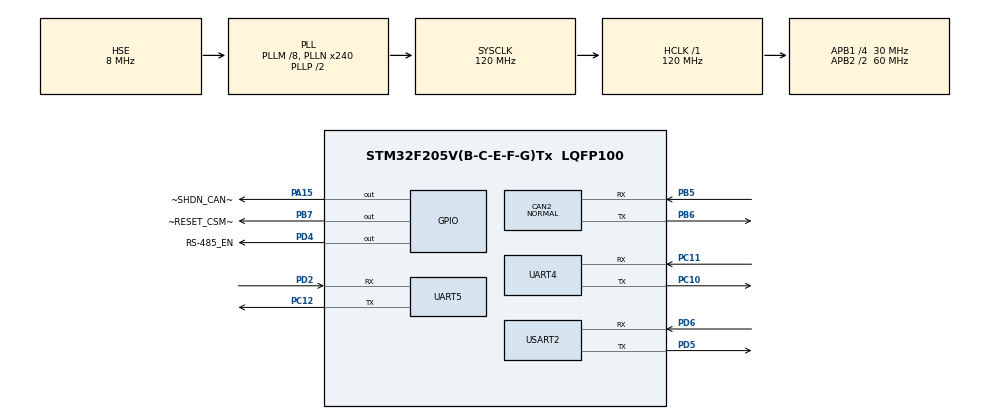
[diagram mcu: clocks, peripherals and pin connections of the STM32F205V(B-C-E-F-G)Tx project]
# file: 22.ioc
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CAN2.BS1=CAN_BS1_8TQ
CAN2.BS2=CAN_BS2_6TQ
CAN2.CalculateTimeBit=8000
CAN2.CalculateTimeQuantum=533.3333333333334
CAN2.Mode=CAN_MODE_NORMAL
CAN2.NART=ENABLE
Mcu.Family=STM32F2
Mcu.Name=STM32F205V(B-C-E-F-G)Tx
Mcu.Package=LQFP100
NVIC.CAN2_RX0_IRQn=true\:0\:4\:false
NVIC.CAN2_SCE_IRQn=true\:0\:3\:false
NVIC.CAN2_TX_IRQn=true\:0\:5\:false
NVIC.PriorityGroup=NVIC_PRIORITYGROUP_1
NVIC.UART4_IRQn=true\:0\:1\:true
PA13.Mode=Serial-Wire
PA13.Signal=SYS_JTMS-SWDIO
PA14.Mode=Serial-Wire
PA14.Signal=SYS_JTCK-SWCLK
PA15.GPIO_Label=~SHDN_CAN~
PA15.GPIO_ModeDefaultOutputPP=GPIO_MODE_OUTPUT_PP
PA15.GPIO_PuPd=GPIO_NOPULL
PA15.GPIO_Speed=GPIO_SPEED_FAST
PA15.Signal=GPIO_Output
PB5.GPIO_Mode=GPIO_MODE_AF_PP
PB5.GPIO_PuPd=GPIO_PULLUP
PB5.GPIO_Speed=GPIO_SPEED_FAST
PB5.Mode=Slave
PB5.Signal=CAN2_RX
PB6.GPIO_Mode=GPIO_MODE_AF_PP
PB6.GPIO_PuPd=GPIO_PULLUP
PB6.GPIO_Speed=GPIO_SPEED_FAST
PB6.Mode=Slave
PB6.Signal=CAN2_TX
PB7.GPIO_Label=~RESET_CSM~
PB7.GPIO_ModeDefaultOutputPP=GPIO_MODE_OUTPUT_PP
PB7.GPIO_PuPd=GPIO_NOPULL
PB7.GPIO_Speed=GPIO_SPEED_FAST
PB7.Signal=GPIO_Output
PC10.GPIO_Mode=GPIO_MODE_AF_PP
PC10.GPIO_PuPd=GPIO_PULLUP
PC10.GPIO_Speed=GPIO_SPEED_FAST
PC10.Mode=Asynchronous
PC10.Signal=UART4_TX
PC11.GPIO_Mode=GPIO_MODE_AF_PP
PC11.GPIO_PuPd=GPIO_PULLUP
PC11.GPIO_Speed=GPIO_SPEED_FAST
PC11.Mode=Asynchronous
PC11.Signal=UART4_RX
PC12.Mode=Asynchronous
PC12.Signal=UART5_TX
PD2.Mode=Asynchronous
PD2.Signal=UART5_RX
PD4.GPIO_Label=RS-485_EN
PD4.GPIO_ModeDefaultOutputPP=GPIO_MODE_OUTPUT_PP
PD4.GPIO_PuPd=GPIO_NOPULL
PD4.GPIO_Speed=GPIO_SPEED_FAST
PD4.Signal=GPIO_Output
PD5.Mode=Asynchronous
PD5.Signal=USART2_TX
PD6.Mode=Asynchronous
PD6.Signal=USART2_RX
PH0-OSC_IN.Mode=HSE-External-Oscillator
PH0-OSC_IN.Signal=RCC_OSC_IN
PH1-OSC_OUT.Mode=HSE-External-Oscillator
PH1-OSC_OUT.Signal=RCC_OSC_OUT
ProjectManager.TargetToolchain=TrueSTUDIO 4.3.1
RCC.48MHZClocksFreq_Value=60000000
RCC.AHBFreq_Value=120000000
RCC.APB1CLKDivider=RCC_HCLK_DIV4
RCC.APB1Freq_Value=30000000
RCC.APB1TimCLKDivider=1
RCC.APB1TimFreq_Value=30000000
RCC.APB2CLKDivider=RCC_HCLK_DIV2
RCC.APB2Freq_Value=60000000
RCC.APB2TimFreq_Value=120000000
RCC.CortexFreq_Value=120000000
RCC.EnbaleCSS=true
RCC.HCLKFreq_Value=120000000
RCC.HSE_VALUE=8000000
RCC.HSI_VALUE=16000000
RCC.LSE_VALUE=32768
RCC.PLLM=8
RCC.PLLN=240
RCC.PLLSourceVirtual=RCC_PLLSOURCE_HSE
RCC.SYSCLKFreq_VALUE=120000000
RCC.SYSCLKSource=RCC_SYSCLKSOURCE_PLLCLK
RCC.VCOOutputFreq_Value=240000000

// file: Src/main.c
/**
  ******************************************************************************
  * File Name          : main.c
  * Description        : Main program body
  ******************************************************************************
  *
  * COPYRIGHT(c) 2015 STMicroelectronics
  *
  * Redistribution and use in source and binary forms, with or without modification,
  * are permitted provided that the following conditions are met:
  *   1. Redistributions of source code must retain the above copyright notice,
  *      this list of conditions and the following disclaimer.
  *   2. Redistributions in binary form must reproduce the above copyright notice,
  *      this list of conditions and the following disclaimer in the documentation
  *      and/or other materials provided with the distribution.
  *   3. Neither the name of STMicroelectronics nor the names of its contributors
  *      may be used to endorse or promote products derived from this software
  *      without specific prior written permission.
  *
  * THIS SOFTWARE IS PROVIDED BY THE COPYRIGHT HOLDERS AND CONTRIBUTORS "AS IS"
  * AND ANY EXPRESS OR IMPLIED WARRANTIES, INCLUDING, BUT NOT LIMITED TO, THE
  * IMPLIED WARRANTIES OF MERCHANTABILITY AND FITNESS FOR A PARTICULAR PURPOSE ARE
  * DISCLAIMED. IN NO EVENT SHALL THE COPYRIGHT HOLDER OR CONTRIBUTORS BE LIABLE
  * FOR ANY DIRECT, INDIRECT, INCIDENTAL, SPECIAL, EXEMPLARY, OR CONSEQUENTIAL
  * DAMAGES (INCLUDING, BUT NOT LIMITED TO, PROCUREMENT OF SUBSTITUTE GOODS OR
  * SERVICES; LOSS OF USE, DATA, OR PROFITS; OR BUSINESS INTERRUPTION) HOWEVER
  * CAUSED AND ON ANY THEORY OF LIABILITY, WHETHER IN CONTRACT, STRICT LIABILITY,
  * OR TORT (INCLUDING NEGLIGENCE OR OTHERWISE) ARISING IN ANY WAY OUT OF THE USE
  * OF THIS SOFTWARE, EVEN IF ADVISED OF THE POSSIBILITY OF SUCH DAMAGE.
  *
  ******************************************************************************
  */

#include "stm32f2xx_hal.h"
#include "can.h"
#include "usart.h"
#include "gpio.h"

/* USER CODE BEGIN Includes */
#include "main.h"
/* USER CODE END Includes */

/* USER CODE BEGIN PV */
#define RXBUFFERSIZE 1000
 #define	sIDLE		0
 #define	sHEAD		1
 #define	sDATA		2
 #define	sEND		3
 #define	sPRECRC		4
 #define	sPOSTCRC	5
 #define	sCHECK		6
 #define	sDONE		7
#define DLEBINR 16
#define ETXBINR 3
#define framedArrSIZE 49
uint16_t DLINA_AT;
char AT_COM[64];
int TxBusy = 0;
char mas[1];
char 	TxNMEA0183[500];			//буфер передатчика
uint8_t		TxCntNMEA0183;				//счетчик передатчика
char 	RxNMEA0183[500];			//буфер передатчика
uint8_t		RxCntNMEA0183;				//счетчик передатчика
bool	reciveNMEA0183;				//флаг принятых новых данных
bool	sendNMEA0183;				//флаг окончания передачи
bool	T7Flag;						//флаг срабатывания таймера №7
char 	TxRS485[500];			//буфер передатчика
uint8_t		TxCntRS485;				//счетчик передатчика
char 	RxRS485[500];			//буфер передатчика
uint8_t		RxCntRS485;				//счетчик передатчика
bool	reciveRS485;				//флаг принятых новых данных
bool	sendRS485;				//флаг окончания передачи
bool	reciveADRRS485;				//флаг совпадения принятого и текущего адреса
uint8_t aRxBuffer[RXBUFFERSIZE];
char 	TxBINR[500];			//буфер передатчика
uint16_t		TxCntBINR;				//счетчик передатчика
char 	RxBINR[2048];			//буфер передатчика
uint16_t		RxCntBINR;				//счетчик передатчика
bool	reciveBINR;				//флаг принятых новых данных
bool	sendBINR;				//флаг окончания передачи
// bool idleCatched = false;
bool	flagnewbinr;
uint16_t 		RxWrIndex;
bool 	RxBinrBuffOverrun;
uint8_t		NumberSatateRxBINR;		//флаг состояния автомата
#ifdef yesCRC
	bool	CRCok;					//флаг совпадения контрольных сумм
	uint8_t		NumberbyteCRC;			//счетчик байт контрольной суммы
	uint8_t		MCRC[5];				//массив байт контрольной суммы
#endif
uint8_t		hE4BINRmas[530];		//массив с принятым пакетом Е4
bool	hE4BINRok;				//флаг притяного массива Е4
uint8_t		h41BINRmas[12];			//массив с принятым пакетом 41
bool	h41BINRok;				//флаг притяного массива 41
uint8_t		h52BINRmas[224];		//массив с принятым пакетом 52
bool	h52BINRok;				//флаг притяного массива 52
uint8_t		h88BINRmas[69];			//массив с принятым пакетом 88
bool	h88BINRok;				//флаг притяного массива 88
int dataArrIndex;
uint8_t modeCANmsg;
uint8_t arrCANdata[8];
unsigned short Serial;//
unsigned char MsgType,Devtype,Priority,MsgMode;
uint8_t framedArrCANTx[framedArrSIZE];
//TIM_Base_InitTypeDef TimHandle;
bool checkMessageFlag;
int idleCounter;
int rxCounter;
bool beginCANTransmitFlag;
int canMessCounter=0;
char inc;
int rpuChannelsQty=0;
/* USER CODE END PV */

void SystemClock_Config(void);

/* USER CODE BEGIN 0 */
#define CAN_SHDN_PORT GPIOA
#define CAN_SHDN_PIN GPIO_PIN_15

#define RESET_CSM_PORT GPIOB
#define RESET_CSM_PIN GPIO_PIN_7

#define __HAL_CAN_CANCEL_TRANSMIT(__HANDLE__, __TRANSMITMAILBOX__)\
(((__TRANSMITMAILBOX__) == CAN_TXMAILBOX_0)? ((__HANDLE__)->Instance->TSR |= CAN_TSR_ABRQ0) :\
 ((__TRANSMITMAILBOX__) == CAN_TXMAILBOX_1)? ((__HANDLE__)->Instance->TSR |= CAN_TSR_ABRQ1) :\
 ((__HANDLE__)->Instance->TSR |= CAN_TSR_ABRQ2))
/* USER CODE END 0 */

int main(void)
{

  /* USER CODE BEGIN 1 */
	beginCANTransmitFlag = 0;
  /* USER CODE END 1 */

  /* MCU Configuration----------------------------------------------------------*/

  /* Reset of all peripherals, Initializes the Flash interface and the Systick. */
  HAL_Init();

  /* Configure the system clock */
  SystemClock_Config();

  /* Initialize all configured peripherals */
  MX_GPIO_Init();
  MX_CAN2_Init();
  MX_UART4_Init();
  MX_UART5_Init();
  MX_USART2_UART_Init();

  /* USER CODE BEGIN 2 */
  CAN_FilterConfTypeDef sFilterConfig;
  sFilterConfig.BankNumber = 0;
  sFilterConfig.FilterActivation = ENABLE;
  sFilterConfig.FilterFIFOAssignment = CAN_FILTER_FIFO0;
  sFilterConfig.FilterIdHigh = 0x0;// ДЛУ
  sFilterConfig.FilterIdLow = 0x000C;
  sFilterConfig.FilterMaskIdHigh = 0x0;
  sFilterConfig.FilterMaskIdLow = 0x0;
  sFilterConfig.FilterMode = CAN_FILTERMODE_IDMASK;
  sFilterConfig.FilterNumber = 0;
  sFilterConfig.FilterScale = CAN_FILTERSCALE_32BIT;
  HAL_CAN_ConfigFilter(&hcan2, &sFilterConfig);
  inc = 0;
  HAL_GPIO_WritePin(RESET_CSM_PORT,RESET_CSM_PIN,1);
  HAL_UART_Receive_IT(&huart4, mas, 1); //Принимает в массив байты строки

  AT_COM[0] = 0x10;
  AT_COM[1] = 0x0e;
  AT_COM[2] = 0x10;
  AT_COM[3] = 0x03;
  HAL_UART_Transmit_IT(&huart4, AT_COM, 4);
  HAL_Delay(1000);

  AT_COM[0] = 0x10;
  AT_COM[1] = 0x13;
  AT_COM[2] = 0x01;
  AT_COM[3] = 0x10;
  AT_COM[4] = 0x03;
  HAL_UART_Transmit_IT(&huart4, AT_COM, 5);
  HAL_Delay(100);
  AT_COM[0] = 0x10;
  AT_COM[1] = 0x27;
  AT_COM[2] = 0x01;
  AT_COM[3] = 0x10;
  AT_COM[4] = 0x03;
  HAL_UART_Transmit_IT(&huart4, AT_COM, 5);
  HAL_Delay(100);
  AT_COM[0] = 0x10;
  AT_COM[1] = 0xd4;
  AT_COM[2] = 0x01;
  AT_COM[3] = 0x10;
  AT_COM[4] = 0x03;
  HAL_UART_Transmit_IT(&huart4, AT_COM, 5);
  HAL_Delay(100);
  AT_COM[0] = 0x10;
  AT_COM[1] = 0xd7;
  AT_COM[2] = 0x02;
  AT_COM[3] = 0x0a;
  AT_COM[4] = 0x10;
  AT_COM[5] = 0x03;
  HAL_UART_Transmit_IT(&huart4, AT_COM, 6);
  HAL_Delay(100);
  /* USER CODE END 2 */

  /* Infinite loop */
  while (1)
  {

  /* USER CODE BEGIN 3 */
  HAL_GPIO_WritePin(CAN_SHDN_PORT,CAN_SHDN_PIN,0);

  if(HAL_CAN_Receive_IT(&hcan2,CAN_FIFO0)!=HAL_OK)
  	  {
		Error_Handler();
  	  }
	  if(beginCANTransmitFlag)
		  beginCANTransmitFlag = false;
			IIMinstr = IIM_disablePolling_MDUS;
			char msgtype = 0x0;
			char devtype = SatteliteModule;
			short serial = 0x0011;
			char priority = 0, mesMode = 0;
			uint8_t *resArr1,*resArr2;
			int arr1len,arr2len;
			prepareEXTID(serial,msgtype,devtype,priority,modeCANmsg);
//			setTxDataMessage(SatteliteModule);
//			parseArray(h41BINRmas,12,0x41,resArr1,&arr1len);
//			parseArray(h88BINRmas,69,0x88,resArr2,&arr2len);
			volatile uint8_t resArr[49];
//			volatile int sor = sizeof(resArr);
			for(int i = 0; i < 12; i++)
			{
				 if(i < 8)
				 {
					 resArr[i] = h41BINRmas[i];
				 }
			}
			for(int i = 0; i < 69; i++)
			{
				 if(i < 40)
				 {
					 resArr[i+8] = h88BINRmas[i];
				 }
				 else if(i==68)
					 resArr[i] = h88BINRmas[i];
			}
			int arrIndex=0;
			for(int j = 0; j < 10; j++)
			{
				for(int a = 0; a < 8; a++)
				{
					mesMode = 1;
					if(a!=7)
						framedMessagesArr[j].Data[a] = resArr[arrIndex++];
					else
						framedMessagesArr[j].Data[a] = j;
				}
				if(j==0)
				{
					mesMode = 3;
					framedMessagesArr[j].Data[7] = 7;
				}
				if(j>=6)
				{
					mesMode = 2;
					framedMessagesArr[j].Data[7] = calcCSofArr(resArr,sizeof(resArr));
				}

			}
			for(int b = 0; b < 8; b++)
				framedMessagesArr[canMessCounter].Data[b] = inc;
			inc++;
			prepareSTDID(3,2,3,3);
			framedMessagesArr[canMessCounter].IDE = CAN_ID_STD;
			framedMessagesArr[canMessCounter].DLC = 8;
			volatile uint32_t tmpval = *(uint32_t*)&STDID;
			framedMessagesArr[canMessCounter].StdId = tmpval;

			hcan2.pTxMsg = &framedMessagesArr[canMessCounter++];
			volatile HAL_StatusTypeDef hererr= HAL_CAN_Transmit_IT(&hcan2);
			//HAL_Delay(0);
			volatile uint32_t her = hcan2.Instance->ESR;
			//__HAL_CAN_CANCEL_TRANSMIT(&hcan2, 0);
			//__HAL_CAN_CANCEL_TRANSMIT(&hcan2, 1);
			//__HAL_CAN_CANCEL_TRANSMIT(&hcan2, 2);
			volatile uint32_t i=5*her;
			HAL_Delay(10);
//			HAL_CAN_Transmit_IT(&hcan2);
//			beginCANTransmitFlag = false;
//			tmpstatus = HAL_CAN_Transmit(&CanHandle,10);
			//HAL_Delay(2);
//			someCounter++;
//			while(makeFramedCANMessage(&dataArrIndex,arrCANdata,&modeCANmsg)!=0)
//
//			}
	  }
  }
  /* USER CODE END 3 */

//}

/** System Clock Configuration
*/
void SystemClock_Config(void)
{

  RCC_OscInitTypeDef RCC_OscInitStruct;
  RCC_ClkInitTypeDef RCC_ClkInitStruct;

  RCC_OscInitStruct.OscillatorType = RCC_OSCILLATORTYPE_HSE;
  RCC_OscInitStruct.HSEState = RCC_HSE_ON;
  RCC_OscInitStruct.PLL.PLLState = RCC_PLL_ON;
  RCC_OscInitStruct.PLL.PLLSource = RCC_PLLSOURCE_HSE;
  RCC_OscInitStruct.PLL.PLLM = 8;
  RCC_OscInitStruct.PLL.PLLN = 240;
  RCC_OscInitStruct.PLL.PLLP = RCC_PLLP_DIV2;
  RCC_OscInitStruct.PLL.PLLQ = 4;
  HAL_RCC_OscConfig(&RCC_OscInitStruct);

  RCC_ClkInitStruct.ClockType = RCC_CLOCKTYPE_SYSCLK|RCC_CLOCKTYPE_PCLK1
                              |RCC_CLOCKTYPE_PCLK2;
  RCC_ClkInitStruct.SYSCLKSource = RCC_SYSCLKSOURCE_PLLCLK;
  RCC_ClkInitStruct.AHBCLKDivider = RCC_SYSCLK_DIV1;
  RCC_ClkInitStruct.APB1CLKDivider = RCC_HCLK_DIV4;
  RCC_ClkInitStruct.APB2CLKDivider = RCC_HCLK_DIV2;
  HAL_RCC_ClockConfig(&RCC_ClkInitStruct, FLASH_LATENCY_3);

  HAL_RCC_EnableCSS();

  HAL_SYSTICK_Config(HAL_RCC_GetHCLKFreq()/1000);

  HAL_SYSTICK_CLKSourceConfig(SYSTICK_CLKSOURCE_HCLK);

}

/* USER CODE BEGIN 4 */
void prepareSTDID(char mestype, char mtype, char ttype, char priority)
{
//	STDID->messageType = mestype&0x07;
//	STDID->moduleType = mtype&0x0f;
//	STDID->transmitionType = ttype&0x03;
//	STDID->priorityLevel = priority&0x03;
//	STDID->unused = 0;
	STDID.messageType = mestype;
	STDID.moduleType = mtype;
	STDID.transmitionType = ttype;
	STDID.priorityLevel = priority;
	STDID.unused = 0;
}

void setTxDataMessage(IIMmoduleType module)
{
	uint32_t *eid;
	eid  = (uint32_t *)EXTID;
	TxMessage.ExtId = *eid;
	TxMessage.StdId = 0;
	TxMessage.RTR = CAN_RTR_DATA;
	TxMessage.IDE = CAN_ID_EXT;
	TxMessage.DLC = 8;
//	if(module == MDLU)
//	{
//		TxMessage.Data[0] = (char)MDLUTransmitData.LAx;
//		TxMessage.Data[1] = (char)(MDLUTransmitData.LAx>>8);
//		TxMessage.Data[2] = (char)MDLUTransmitData.LAy;
//		TxMessage.Data[3] = (char)(MDLUTransmitData.LAy>>8);
//		TxMessage.Data[4] = (char)MDLUTransmitData.LAz;
//		TxMessage.Data[5] = (char)(MDLUTransmitData.LAz>>8);
//		TxMessage.Data[6] = MDLUTransmitData.service;
//		TxMessage.Data[7] = MDLUTransmitData.CSL;				//constant for a some time
//	}
//	if(module == MDUS)
//	{
//		TxMessage.Data[0] = (char)MDUSTransmitData.ARx;
//		TxMessage.Data[1] = (char)(MDUSTransmitData.ARx>>8);
//		TxMessage.Data[2] = (char)MDUSTransmitData.ARy;
//		TxMessage.Data[3] = (char)(MDUSTransmitData.ARy>>8);
//		TxMessage.Data[4] = (char)MDUSTransmitData.ARz;
//		TxMessage.Data[5] = (char)(MDUSTransmitData.ARz>>8);
//		TxMessage.Data[6] = MDUSTransmitData.service;
//		TxMessage.Data[7] = MDUSTransmitData.CSL;				//constant for a some time
//	}
//	if(module == MDAD)
//	{
//		TxMessage.Data[0] = (char)MDADTransmitData.pressure;
//		TxMessage.Data[1] = (char)(MDADTransmitData.pressure>>8);
//		TxMessage.Data[2] = (char)(MDADTransmitData.pressure>>16);
//		TxMessage.Data[3] = (char)MDADTransmitData.temperature;
//		TxMessage.Data[4] = (char)(MDADTransmitData.temperature>>8);
//		TxMessage.Data[5] = (char)(MDADTransmitData.temperature>>16);
//		TxMessage.Data[6] = MDADTransmitData.service;
//		TxMessage.Data[7] = MDADTransmitData.CSL;				//constant for a some time
//	}
	if(module == SatteliteModule)
	{
//		TxMessage.Data = (unsigned char)arrCANdata;
//		CanHandle.pTxMsg->Data
//		CanHandle.pTxMsg->Data[0] = arrCANdata[0];
//		CanHandle.pTxMsg->Data[1] = arrCANdata[1];
//		CanHandle.pTxMsg->Data[2] = arrCANdata[2];
//		CanHandle.pTxMsg->Data[3] = arrCANdata[3];
//		CanHandle.pTxMsg->Data[4] = arrCANdata[4];
//		CanHandle.pTxMsg->Data[5] = arrCANdata[5];
//		CanHandle.pTxMsg->Data[6] = arrCANdata[6];
//		CanHandle.pTxMsg->Data[7] = arrCANdata[7];
		TxMessage.Data[0] = arrCANdata[0];
		TxMessage.Data[1] = arrCANdata[1];
		TxMessage.Data[2] = arrCANdata[2];
		TxMessage.Data[3] = arrCANdata[3];
		TxMessage.Data[4] = arrCANdata[4];
		TxMessage.Data[5] = arrCANdata[5];
		TxMessage.Data[6] = arrCANdata[6];
		TxMessage.Data[7] = arrCANdata[7];
	}

}

char parseArray(uint8_t *inArr, uint16_t inArrLength, int arrType, uint8_t *outArr, uint16_t *outArrLength)
{
	char err=0;
//	uint8_t tmpArr[300];
	uint8_t i;
//	 vector<uint8_t> tmpArr;
//	 vector<uint8_t>::iterator tmpIterator;
//
//	 for(i = 0; i < inArrLength; i++)
//	 {
	//	 tmpArr.insert(*inMas);
//		 tmpArr.at(i) = *inMas;
//		 tmpArr.push_back(*inMas);
//		 tmpArr[i]
//		 inArr++;
//	 }
	switch (arrType)
	{

		case 0x41:
		{
			for(i = 0; i < inArrLength; i++)
			{
				if(i<8)
				{
					*outArrLength++;		//incrementing value
					*outArr =  *inArr;
					inArr++;				//incrementing address
				}

			}
			break;
		}
		case 0x88:
		{
			for(i = 0; i < inArrLength; i++)
			{
				if(i<40)
				{
					*outArrLength++;		//incrementing value
					*outArr =  *inArr;
					inArr++;				//incrementing address
				}
				if(i==68)
				{
					*outArrLength++;		//incrementing value
					*outArr =  *inArr;
					inArr++;				//incrementing address
				}

			}
			break;
		}
		default:
		{
			err = 1;
			break;
		}

	}
	return err;
}

char makeFramedCANMessage(int *currentArrIndex, uint8_t *outArr, uint8_t *mode)
{
	char ret=1;
	uint8_t framesQuantity=0;
	uint8_t currentFrame = 0;
	uint8_t locmode = 0;
	uint8_t currentIndex = *currentArrIndex;
	currentFrame = currentIndex/7;
	framesQuantity = sizeof(framedArrCANTx)/7+1;
	if(currentIndex/7+1 <= framesQuantity)
	{
		for(int i=0; i < 8; i++)
		{
			if(i!=7)
			{
				*outArr = framedArrCANTx[currentIndex];
				currentIndex++;

			}
			else
			{
				if(currentIndex==7)
				{
					*outArr = framesQuantity;
					currentFrame++;
					locmode = 1;
											//also need to set correct mode flag in extID
				}
				else
				{
					currentFrame++;
					if(framesQuantity>currentFrame) //not first not last frame
						{
							*outArr = currentFrame;
							locmode = 2;
						}
					else
						{
							if(framesQuantity == currentFrame)
							{
								*outArr = calcCSofArr(framedArrCANTx,sizeof(framedArrCANTx));
								locmode = 3;
							}
							else
							{
								ret = 0;
								locmode = 0;
							}
						}

				}
			}
			outArr++;
		}
	}
	else
		{
			ret = 0;
			locmode = 0;
		}
	*mode = locmode;
	*currentArrIndex = currentIndex;
//	Serial=0x02;
	MsgMode = locmode;
	return ret;
}

uint8_t calcCSofArr(uint8_t *arr, uint8_t arrSize)
{
	uint16_t tmpVal=0;
//	tmpVal = *arr;
	for(uint8_t i = 0; i < arrSize; i++)
	{
		tmpVal+=*arr;
		arr++;
	}
	return tmpVal&0x00ff;
}

void prepareEXTID(short serial, char msgtype,char devtype,char priority, char msgMode)
{

	EXTID->deviceSerialNumber =serial&0x0fff;//
	EXTID->messageType = msgtype&0x0f;
	EXTID->deviceType = devtype&0x7f;
	EXTID->priorityLevel = priority&0x0f;
	EXTID->messageMode = msgMode&0x03;
	EXTID->unused = 0;

}
void Error_Handler()
{
	volatile uint32_t tmpError=0;
	volatile HAL_CAN_StateTypeDef tmpStatus=0;
	tmpError = HAL_CAN_GetError(&hcan2);
	if(tmpError==0)
	{
		tmpStatus = HAL_CAN_GetState(&hcan2);
	}
	if(tmpStatus!=HAL_CAN_STATE_READY)
	{
		hcan2.State = HAL_CAN_STATE_READY;
//		HAL_CAN_DeInit(&hcan2);
//		HAL_CAN_Init(&hcan2);
	}

}

void HAL_CAN_RxCpltCallback(CAN_HandleTypeDef* hcan)
{
	if (hcan->pRxMsg->FIFONumber == 0)
	{

	}
	if (hcan->pRxMsg->FIFONumber == 1)
	{

	}
	if(hcan->Instance==CAN2)
	{
//		HAL_CAN_Receive_IT(&hcan2,CAN_FIFO0);
		counter++;
		//HAL_GPIO_TogglePin(LED_LEG_PORT,LED_LEG_PIN);
	}
	HAL_CAN_Receive_IT(&hcan2,CAN_FIFO0);
//	if(HAL_CAN_Receive_IT(&hcan2,CAN_FIFO0)!= HAL_OK)
//	{
//		Error_Handler();
//	}
}

void HAL_CAN_ErrorCallback(CAN_HandleTypeDef *hcan)
{
	__IO uint32_t ERR;
	if(hcan->Instance==CAN2)
	{
		  ERR=hcan->ErrorCode;
		  hcan->ErrorCode=0;
		  if ( ((hcan->Instance->TSR&CAN_TSR_TERR0) == CAN_TSR_TERR0) )
		  {
			__HAL_CAN_CANCEL_TRANSMIT(hcan,0);
		  }
//		  if ((hcan->Instance->TSR&CAN_TSR_TME1) == 0)
//		  {
//			  __HAL_CAN_CANCEL_TRANSMIT(hcan,1);
//		  }
//		  if ((hcan->Instance->TSR&CAN_TSR_TME2) == 0)
//		  {
//			  __HAL_CAN_CANCEL_TRANSMIT(hcan,2);
//		  }
	}
}

//void HAL_CAN_RxCpltCallback(CAN_HandleTypeDef* hcan)
//{
//	if(hcan->Instance==CAN2)
//	{
//		volatile int status = HAL_CAN_GetState(hcan);
//		HAL_CAN_Receive_IT(hcan,CAN_FIFO0);
//	}
//
//}
void HAL_CAN_TxCpltCallback(CAN_HandleTypeDef* hcan)
{
	if(hcan->Instance==CAN2)
	{
		if(canMessCounter<10)
			{
				if(canMessCounter<8)
					prepareSTDID(1,2,3,3);
				else
					prepareSTDID(2,2,3,3);
				hcan2.pTxMsg = &framedMessagesArr[canMessCounter];
				framedMessagesArr[canMessCounter].IDE = CAN_ID_STD;
				framedMessagesArr[canMessCounter].DLC = 8;
				uint32_t tmp = *(uint32_t*)&STDID;
				framedMessagesArr[canMessCounter++].StdId =tmp;
				HAL_CAN_Transmit_IT(&hcan2);
		//		beginCANTransmitFlag = false;
			}
		else canMessCounter=0;
	}
//	if(HAL_CAN_GetState(&hcan2)==HAL_CAN_STATE_READY)
//	{

//			hcan2.pTxMsg = framedMessagesArr[canMessCounter++];
//			prepareSTDID((char)mesMode,2,3,3);
//			hcan2.pTxMsg = &framedMessagesArr[j];
//			framedMessagesArr[j].IDE = CAN_ID_STD;
//			framedMessagesArr[j].DLC = 8;
//			framedMessagesArr[j].StdId = STDID;
//			HAL_CAN_Transmit_IT(&hcan2);
//			HAL_CAN_Transmit_IT()
//		}
//	}
}

void HAL_UART_RxCpltCallback(UART_HandleTypeDef *huart)
{
		volatile uint16_t	CntRxBINR=0,CntU4=0;
		volatile char 	RBINR[2048];			//буфер передатчика
		volatile bool tmp2=false;
		uint8_t rxbyte=0,t,r;
  if(huart->Instance==UART4)
  {
	     	        rxbyte = (char)UART4->DR;
	  				switch (NumberSatateRxBINR)
	  				{
	  					case sIDLE://инициализация дескриптора нового пакета
	  					{
	  						if(rxbyte==DLEBINR)
	  						{
	  							NumberSatateRxBINR=sHEAD;
	  							flagnewbinr=true;
	  						}
	  						break;
	  					}

	  					case sHEAD://запись идентификатора нового пакета
	  					{

	  		#ifdef yesCRC
	  						if((rxbyte==DLEBINR)||(rxbyte==CRCBINR)||(rxbyte==ETXBINR))
	  		#else
	  						if((rxbyte==DLEBINR)||(rxbyte==ETXBINR))
	  		#endif
	  						{
	  							NumberSatateRxBINR=sIDLE;
	  							flagnewbinr=false;
	  						}
	  						else
	  						{
	  							RxCntBINR=0;
	  							RxBINR[RxCntBINR] = rxbyte;//запись в буфер приемника ID пакета
	  							RBINR[RxCntBINR] = rxbyte;//запись в буферu8	rxbyte,t,r; приемника ID пакета
	  							NumberSatateRxBINR=sDATA;
	  						}
	  						break;
	  					}

	  					case sDATA://запись данных
	  					{
	  						if(rxbyte!=DLEBINR)
	  						{
	  							RxCntBINR++;
	  							RxBINR[RxCntBINR] = rxbyte;//запись в буфер данных пакета
	  							RBINR[RxCntBINR] = rxbyte;//запись в буфер приемника ID пакета
	  						}
	  						else
	  						{
	  							NumberSatateRxBINR=sEND;
	  						}
	  						break;
	  					}

	  					case sEND://ожидание конца
	  					{
	  						if(rxbyte==DLEBINR)
	  						{
	  							RxCntBINR++;
	  							RxBINR[RxCntBINR] = rxbyte;//запись в буфер данных пакета
	  							RBINR[RxCntBINR] = rxbyte;//запись в буфер приемника ID пакета
	  							NumberSatateRxBINR=sDATA;//сжатие DLE
	  						}
	  		#ifdef yesCRC
	  						else if(rxbyte==CRCBINR)	//проверка на КС
	  						{
	  							NumberSatateRxBINR=sPRECRC;
	  							NumberbyteCRC=0;
	  						}
	  		#endif
	  						else if(rxbyte==ETXBINR)	//проверка на конец
	  						{
	  							NumberSatateRxBINR=sDONE;
	  						}
	  						else
	  						{
	  							NumberSatateRxBINR=sIDLE;//ошибка
	  						}
	  						break;
	  					}
	  					//break;
	  		#ifdef yesCRC
	  					case sPRECRC://запись CRC
	  					{
	  						MCRC[NumberbyteCRC]=rxbyte;
	  						NumberbyteCRC++;
	  						if(NumberbyteCRC>2)//уже принято 2 байта CRC и еще один байт
	  						{
	  							if(rxbyte==DLEBINR)
	  							{
	  								NumberSatate	  	if(UART4->SR&UART_FLAG_ORE)
	  RxBINR=sPOSTCRC;//переход к ожижанию ETX
	  							}
	  							else
	  							{
	  								NumberSatateRxBINR=sIDLE;//ошибка
	  							}
	  						}
	  					}
	  					break;
	  					case sPOSTCRC://запись данных
	  					{
	  						if(rxbyte==ETXBINR)	//проверка на конец
	  						{
	  							NumberSatateRxBINR=sCHECK;
	  						}
	  						else
	  						{
	  							NumberSatateRxBINR=sIDLE;//ошибка
	  						}
	  					}
	  					//break;
	  					case sCHECK://проверка CRC
	  					{
	  						//тут нужно вычислить CRC
	  						CRCok=true;//так как нет фунцкии вычисления CRC, значит все хорошо!
	  						if(CRCok)
	  						{
	  							NumberSatateRxBINR=sDONE;
	  						}
	  						else
	  						{
	  							NumberSatateRxBINR=sIDLE;//ошибка
	  						}
	  					}
	  		#endif
	  					//break;
	  					case sDONE://получен корректный пакет
	  					{
	  						//переписываем принятый пакет туда куда нужно, и ставим флаг
	  						reciveBINR=true;
	  						NumberSatateRxBINR=sHEAD;//not debug
	  						r=RxBINR[0];
	  						CntRxBINR=RxCntBINR;
	  						if(r==0x41)//псевдодальность и доплеры
	  						{
//	  							anotherCounter++;
	  //								uint8_t		h41BINRmas[12];			//массив с принятым пакетом 41
	  //								bool	h41BINRok;
	  							for(CntU4=0;CntU4<=CntRxBINR;CntU4++)
	  							{
	  								h41BINRmas[CntU4]=RxBINR[CntU4+1];
	  							}
	  							h41BINRok=true;				//флаг притяного массива Е4
//	  							h88BINRok=true;				//флаг притяного массива Е4
	  							if(h88BINRok)
	  							{
//	  								HAL_GPIO_TogglePin(CAN_SHDN_PORT,CAN_SHDN_PIN);

	  								NumberSatateRxBINR=sHEAD;
	  							}
	  							else
	  								NumberSatateRxBINR=sHEAD;
	  //
	  //							else
	  							r=CntU4;
//	  							uartLostCyclesCounter=0;

	  //							r=0x41;
	  //							commandToSend = 0x27;
	  //							changeCommand = true;
	  						}
	  						if(r==0x88)//псевдодальность и доплеры
	  						{
//	  							anotherCounter1++;
	  		#ifdef debugprog
	  							for(CntU4=0;CntU4<=CntRxBINR;CntU4++)
	  							{
	  								masE4[CntU4]=RxBINR[CntU4+1];
	  							}
	  		#endif
	  							for(CntU4=0;CntU4<=CntRxBINR;CntU4++)
	  							{
	  								h88BINRmas[CntU4]=RxBINR[CntU4+1];
	  							}
	  							h88BINRok=true;
//	  							if(h41BINRok)
//	  							{
//	  											//флаг притяного массива Е4
//	  								NumberSatateRxBINR=sHEAD;
//	  							}
//	  							else
//	  							{
//	  								h88BINRok = false;
//	  								NumberSatateRxBINR=sIDLE;
//	  							}
	  //							h41BINRok=true;				//флаг притяного массива Е4

	  							r=CntU4;
//	  							uartLostCyclesCounter=0;
	  							if(h41BINRok)
	  							{
//	  								HAL_GPIO_TogglePin(CAN_SHDN_PORT,CAN_SHDN_PIN);
//	  								h41BINRok = false;
//	  								h88BINRok = false;
//	  								beginCANTransmitFlag = true;
	  								NumberSatateRxBINR=sHEAD;
	  							}
	  							else
	  								NumberSatateRxBINR=sHEAD;
	  							r=0x88;
	  //							commandToSend = 0x13;
	  //							changeCommand = true;
	  						}
	  						if(r==0xe4)
	  						{
	  							if(CntRxBINR==17)
	  								rpuChannelsQty = RxBINR[17];
	  							for(CntU4=0;CntU4<=CntRxBINR;CntU4++)
	  							{
	  								hE4BINRmas[CntU4]=RxBINR[CntU4+1];
	  							}
	  							hE4BINRok = true;
	  										//флаг притяного массива Е4
//	  							h88BINRok=true;				//флаг притяного массива Е4
	  							if(h88BINRok&&h41BINRok)
	  							{
//	  								HAL_GPIO_TogglePin(CAN_SHDN_PORT,CAN_SHDN_PIN);

//	  								beginCANTransmitFlag = true;
	  								NumberSatateRxBINR=sHEAD;
	  							}
	  							else
	  								NumberSatateRxBINR=sHEAD;
	  //
	  //							else
	  							r=CntU4;
	  						}
	  						break;
	  					}
	  //					break;
	  				}

	  //			}
//добавить временную метку конца массива куда-нибудь
	 HAL_UART_Receive_IT(&huart4, mas, 1);
  }

}

//void SendAT (const char * S)		//Функция выдачи строковой команды модулю
//{
//
//	 TxBusy = 1;
//	 strcpy (AT_COM,S);
//	 DLINA_AT = strlen (AT_COM);
//	 HAL_UART_Transmit_IT(&huart4, AT_COM, DLINA_AT);
//	 HAL_Delay(1);
//
//}
/* USER CODE END 4 */

/************************ (C) COPYRIGHT STMicroelectronics *****END OF FILE****/
